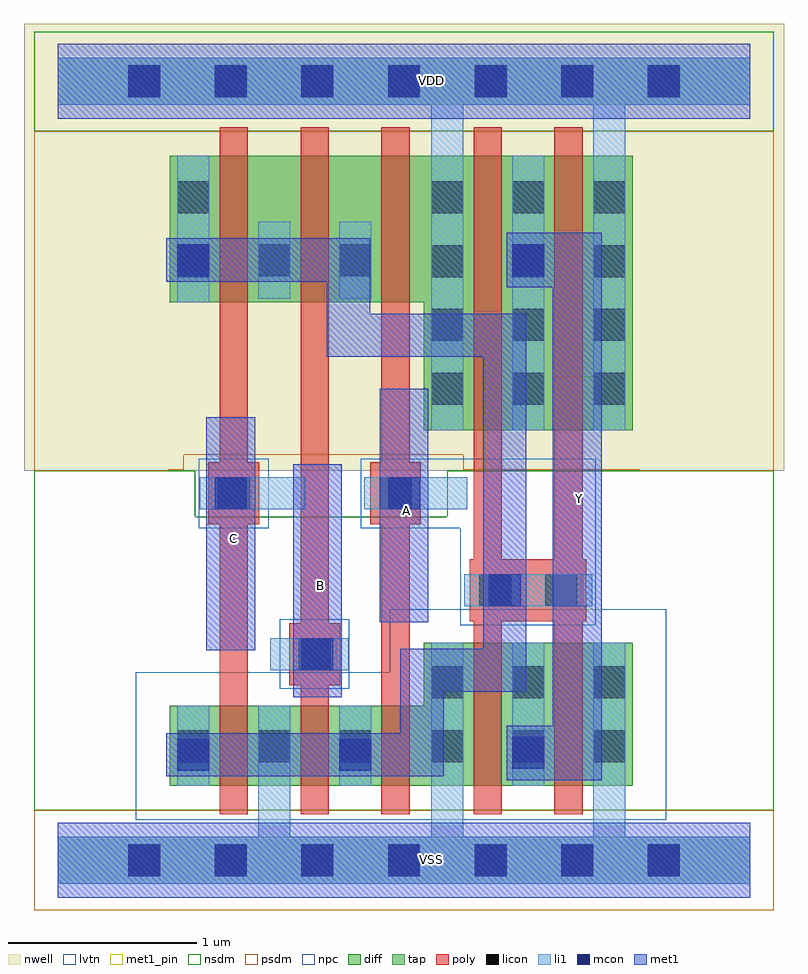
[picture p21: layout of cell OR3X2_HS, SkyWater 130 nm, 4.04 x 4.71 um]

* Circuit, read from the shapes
.subckt OR3X2_HS A B C VDD VSS Y
XM1 VSS C n1 VSS sky130_fd_pr__nfet_01v8_lvt w=0.425 l=0.15
XM2 n1 B VSS VSS sky130_fd_pr__nfet_01v8_lvt w=0.425 l=0.15
XM3 VSS A n1 VSS sky130_fd_pr__nfet_01v8_lvt w=0.425 l=0.15
XM4 Y n1 VSS VSS sky130_fd_pr__nfet_01v8_lvt w=0.76 l=0.15 m=2
XM5 n2 C n1 VDD sky130_fd_pr__pfet_01v8 w=0.78 l=0.15
XM6 n3 B n2 VDD sky130_fd_pr__pfet_01v8 w=0.78 l=0.15
XM7 VDD A n3 VDD sky130_fd_pr__pfet_01v8 w=0.78 l=0.15
XM8 Y n1 VDD VDD sky130_fd_pr__pfet_01v8 w=1.46 l=0.15 m=2
.ends

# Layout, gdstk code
from math import pi, radians
import gdstk
lib = gdstk.Library(unit=1e-6, precision=1e-09)
def R(c, l, rs):  # rectangles x0, y0, x1, y1
    for r in rs: c.add(gdstk.rectangle(r[:2], r[2:], *l))
def A(c, l, x, y, w, h, nx, ny, dx, dy):  # array of equal rectangles
    R(c, l, [(x+i*dx, y+j*dy, x+i*dx+w, y+j*dy+h) for i in range(nx) for j in range(ny)])
def P(c, l, *ps):  # polygons
    for p in ps: c.add(gdstk.Polygon(p, *l))
nwell = (64, 20)
diff = (65, 20)
tap = (65, 44)
poly = (66, 20)
licon = (66, 44)
li1 = (67, 20)
mcon = (67, 44)
met1_pin = (68, 16)
met1 = (68, 20)
nsdm = (93, 44)
psdm = (94, 20)
npc = (95, 20)
lvtn = (125, 44)

l1m1_c_cdns_758729172862 = lib.new_cell('L1M1_C_CDNS_7587291728625')
R(l1m1_c_cdns_758729172862, li1, [(-0.085,-0.085,0.085,0.165)])
R(l1m1_c_cdns_758729172862, mcon, [(-0.085,-0.085,0.085,0.085)])
R(l1m1_c_cdns_758729172862, met1, [(-0.145,-0.115,0.145,0.115)])

l1m1_c_cdns_758729172860 = lib.new_cell('L1M1_C_CDNS_758729172860')
R(l1m1_c_cdns_758729172860, li1, [(-0.165,-0.085,0.165,0.085)])
R(l1m1_c_cdns_758729172860, mcon, [(-0.085,-0.085,0.085,0.085)])
R(l1m1_c_cdns_758729172860, met1, [(-0.115,-0.145,0.115,0.145)])

l1m1_c_cdns_758729172867 = lib.new_cell('L1M1_C_CDNS_758729172867')
R(l1m1_c_cdns_758729172867, li1, [(-0.085,-0.085,0.085,0.165)])
R(l1m1_c_cdns_758729172867, mcon, [(-0.085,-0.085,0.085,0.085)])
R(l1m1_c_cdns_758729172867, met1, [(-0.115,-0.145,0.115,0.145)])

licondiff_c_cdns_7587291 = lib.new_cell('LICONDIFF_C_CDNS_7587291728611')
R(licondiff_c_cdns_7587291, diff, [(-0.125,-0.145,0.125,0.145)])
R(licondiff_c_cdns_7587291, licon, [(-0.085,-0.085,0.085,0.085), (-0.085,-0.085,0.085,0.085)])

pyl1con_c_cdns_758729172 = lib.new_cell('PYL1CON_C_CDNS_758729172862')
R(pyl1con_c_cdns_758729172, poly, [(-0.135,-0.165,0.135,0.165)])
R(pyl1con_c_cdns_758729172, licon, [(-0.085,-0.085,0.085,0.085)])
R(pyl1con_c_cdns_758729172, npc, [(-0.185,-0.185,0.185,0.185)])

l1m1_c_cdns_758729172863 = lib.new_cell('L1M1_C_CDNS_758729172863')
R(l1m1_c_cdns_758729172863, li1, [(-0.085,-0.165,0.085,0.165)])
R(l1m1_c_cdns_758729172863, mcon, [(-0.085,-0.085,0.085,0.085)])
R(l1m1_c_cdns_758729172863, met1, [(-0.145,-0.115,0.145,0.115)])

l1m1_c_cdns_758729172861 = lib.new_cell('L1M1_C_CDNS_758729172861')
R(l1m1_c_cdns_758729172861, li1, [(-0.085,-0.165,0.085,0.165)])
R(l1m1_c_cdns_758729172861, mcon, [(-0.085,-0.085,0.085,0.085)])
R(l1m1_c_cdns_758729172861, met1, [(-0.115,-0.145,0.115,0.145)])

or3x2_hs = lib.new_cell('OR3X2_HS')
R(or3x2_hs, nwell, [(-0.18,2.07,3.86,4.445)])
P(or3x2_hs, diff, [(3.055,3.745),(0.595,3.745),(0.595,2.965),(1.945,2.965),(1.945,2.285),(3.055,2.285)],
  [(3.055,1.155),(1.945,1.155),(1.945,0.82),(0.595,0.82),(0.595,0.395),(3.055,0.395)])
A(or3x2_hs, poly, 0.86, 0.245, 0.15, 3.65, 3, 1, 0.43, 0)
P(or3x2_hs, poly, [(2.81,1.6),(2.79,1.6),(2.79,3.895),(2.64,3.895),(2.64,1.6),(2.36,1.6),(2.36,3.895),(2.21,3.895),(2.21,1.6),(2.19,1.6),(2.19,1.27),(2.21,1.27),(2.21,0.245),(2.36,0.245),(2.36,1.27),(2.64,1.27),(2.64,0.245),(2.79,0.245),(2.79,1.27),(2.81,1.27)])
A(or3x2_hs, licon, 0.375, -0.085, 0.17, 0.17, 7, 2, 0.46, 4.14)
A(or3x2_hs, licon, 0.635, 0.52, 0.17, 0.17, 3, 1, 0.43, 0)
A(or3x2_hs, licon, 1.985, 0.52, 0.17, 0.17, 3, 2, 0.43, 0.34)
A(or3x2_hs, licon, 1.985, 2.42, 0.17, 0.17, 3, 4, 0.43, 0.34)
R(or3x2_hs, licon, [(0.635,3.1,0.805,3.27), (0.635,3.44,0.805,3.61)])
R(or3x2_hs, li1, [(0.635,0.395,0.805,0.82), (1.495,0.395,1.665,0.82), (2.415,0.395,2.585,1.155), (2.415,2.285,2.585,3.745), (0.635,2.965,0.805,3.745)])
P(or3x2_hs, li1, [(3.68,4.265),(0,4.265),(0,4.015),(1.985,4.015),(1.985,2.285),(2.155,2.285),(2.155,4.015),(2.845,4.015),(2.845,2.285),(3.015,2.285),(3.015,4.015),(3.68,4.015)],
  [(3.68,0.125),(3.015,0.125),(3.015,1.155),(2.845,1.155),(2.845,0.125),(2.155,0.125),(2.155,1.155),(1.985,1.155),(1.985,0.125),(1.235,0.125),(1.235,0.82),(1.065,0.82),(1.065,0.125),(0,0.125),(0,-0.125),(3.68,-0.125)])
A(or3x2_hs, mcon, 0.375, -0.085, 0.17, 0.17, 7, 2, 0.46, 4.14)
R(or3x2_hs, met1_pin, [(0,-0.2,3.68,0.2), (1.25,0.865,1.51,2.105), (0.79,1.115,1.05,2.355), (1.71,1.265,1.97,2.505), (2.63,1.33,2.89,2.57), (0,3.94,3.68,4.34)])
P(or3x2_hs, met1, [(2.89,3.335),(2.5,3.335),(2.5,3.045),(2.63,3.045),(2.63,0.715),(2.47,0.715),(2.47,0.425),(2.89,0.425)])
R(or3x2_hs, nsdm, [(-0.125,3.875,3.805,4.405)])
P(or3x2_hs, nsdm, [(3.805,2.07),(2.07,2.07),(2.07,1.825),(0.73,1.825),(0.73,2.07),(-0.125,2.07),(-0.125,0.265),(3.805,0.265)])
R(or3x2_hs, psdm, [(-0.125,-0.265,3.805,0.265)])
P(or3x2_hs, psdm, [(3.805,3.875),(-0.125,3.875),(-0.125,2.07),(0.585,2.07),(0.585,2.075),(0.67,2.075),(0.67,2.155),(2.155,2.155),(2.155,2.075),(3.095,2.075),(3.095,2.07),(3.805,2.07)])
P(or3x2_hs, npc, [(2.86,2.135),(1.61,2.135),(1.61,1.765),(2.14,1.765),(2.14,1.25),(2.86,1.25)])
P(or3x2_hs, lvtn, [(3.235,1.335),(1.765,1.335),(1.765,1),(0.415,1),(0.415,0.215),(3.235,0.215)])
or3x2_hs.add(gdstk.FlexPath([(1.58,2.985),(1.58,3.395)], 0.17, ends="flush", simple_path=True, layer=67, datatype=20))  # li1
or3x2_hs.add(gdstk.FlexPath([(2.16,1.435),(2.84,1.435)], 0.17, ends="flush", simple_path=True, layer=67, datatype=20))  # li1
or3x2_hs.add(gdstk.FlexPath([(1.63,1.95),(2.175,1.95)], 0.17, ends="flush", simple_path=True, layer=67, datatype=20))  # li1
or3x2_hs.add(gdstk.FlexPath([(1.215,1.095),(1.545,1.095)], 0.17, ends=(0.085, 0), simple_path=True, layer=67, datatype=20))  # li1
or3x2_hs.add(gdstk.FlexPath([(1.15,2.985),(1.15,3.395)], 0.17, ends="flush", simple_path=True, layer=67, datatype=20))  # li1
or3x2_hs.add(gdstk.FlexPath([(0.77,1.95),(1.315,1.95)], 0.17, ends="flush", simple_path=True, layer=67, datatype=20))  # li1
or3x2_hs.add(gdstk.FlexPath([(0,4.14),(3.68,4.14)], 0.25, ends="flush", simple_path=True, layer=65, datatype=44))  # tap
or3x2_hs.add(gdstk.FlexPath([(0,0),(3.68,0)], 0.25, ends="flush", simple_path=True, layer=65, datatype=44))  # tap
or3x2_hs.add(gdstk.FlexPath([(0,4.14),(3.68,4.14)], 0.4, ends="flush", simple_path=True, layer=68, datatype=20))  # met1
or3x2_hs.add(gdstk.FlexPath([(0,0),(3.68,0)], 0.4, ends="flush", simple_path=True, layer=68, datatype=20))  # met1
or3x2_hs.add(gdstk.FlexPath([(0.72,0.56),(1.935,0.56),(1.935,1.01),(2.375,1.01),(2.375,2.79),(1.545,2.79),(1.545,3.19),(0.735,3.19)], 0.23, ends="flush", simple_path=True, layer=68, datatype=20))  # met1
or3x2_hs.add(gdstk.FlexPath([(1.38,0.865),(1.38,2.105)], 0.26, ends="flush", simple_path=True, layer=68, datatype=20))  # met1
or3x2_hs.add(gdstk.FlexPath([(0.92,1.115),(0.92,2.355)], 0.26, ends="flush", simple_path=True, layer=68, datatype=20))  # met1
or3x2_hs.add(gdstk.FlexPath([(1.84,1.265),(1.84,2.505)], 0.26, ends="flush", simple_path=True, layer=68, datatype=20))  # met1
or3x2_hs.add(gdstk.Reference(l1m1_c_cdns_758729172862, (0.72,0.56)))
or3x2_hs.add(gdstk.Reference(l1m1_c_cdns_758729172862, (1.58,0.56)))
or3x2_hs.add(gdstk.Reference(l1m1_c_cdns_758729172860, (2.375,1.435)))
or3x2_hs.add(gdstk.Reference(l1m1_c_cdns_758729172860, (0.92,1.95), x_reflection=True))
or3x2_hs.add(gdstk.Reference(l1m1_c_cdns_758729172860, (1.38,1.095), x_reflection=True))
or3x2_hs.add(gdstk.Reference(l1m1_c_cdns_758729172860, (1.84,1.95), x_reflection=True))
or3x2_hs.add(gdstk.Reference(l1m1_c_cdns_758729172867, (2.5,0.57)))
or3x2_hs.add(gdstk.Reference(licondiff_c_cdns_7587291, (1.58,3.19)))
or3x2_hs.add(gdstk.Reference(licondiff_c_cdns_7587291, (1.15,3.19)))
or3x2_hs.add(gdstk.Reference(pyl1con_c_cdns_758729172, (2.325,1.435), rotation=pi, x_reflection=True))
or3x2_hs.add(gdstk.Reference(pyl1con_c_cdns_758729172, (0.935,1.95), x_reflection=True))
or3x2_hs.add(gdstk.Reference(pyl1con_c_cdns_758729172, (1.365,1.095), x_reflection=True))
or3x2_hs.add(gdstk.Reference(pyl1con_c_cdns_758729172, (1.795,1.95), x_reflection=True))
or3x2_hs.add(gdstk.Reference(pyl1con_c_cdns_758729172, (2.675,1.435), rotation=pi, x_reflection=True))
or3x2_hs.add(gdstk.Reference(l1m1_c_cdns_758729172863, (0.72,3.19)))
or3x2_hs.add(gdstk.Reference(l1m1_c_cdns_758729172861, (2.5,3.19)))
or3x2_hs.add(gdstk.Label('A', (1.855,1.86), layer=68, texttype=5))
or3x2_hs.add(gdstk.Label('B', (1.395,1.46), layer=68, texttype=5))
or3x2_hs.add(gdstk.Label('C', (0.935,1.71), layer=68, texttype=5))
or3x2_hs.add(gdstk.Label('Y', (2.775,1.925), layer=68, texttype=5))
or3x2_hs.add(gdstk.Label('VSS', (1.985,0.005), layer=68, texttype=5))
or3x2_hs.add(gdstk.Label('VDD', (1.985,4.145), layer=68, texttype=5))
or3x2_hs.add(gdstk.Label('VDD', (1.985,4.145), layer=68, texttype=5))

lib.write_gds('OR3X2_HS.gds')
